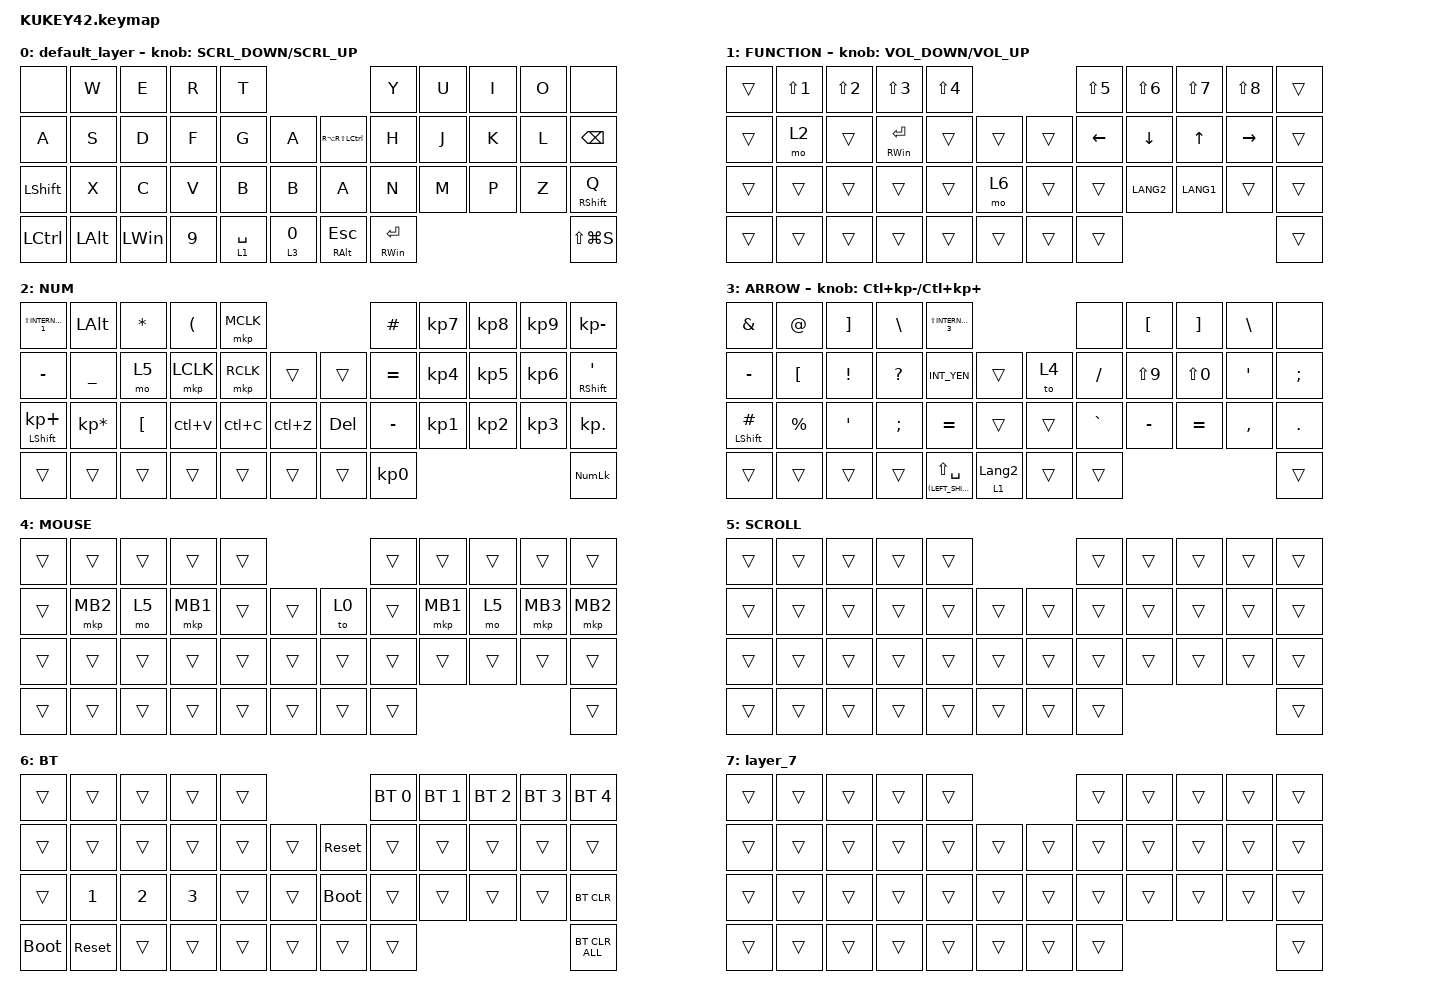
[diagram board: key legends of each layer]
#define ZMK_POINTING_DEFAULT_SCRL_VAL 80

#include <behaviors.dtsi>
#include <dt-bindings/zmk/bt.h>
#include <dt-bindings/zmk/keys.h>
#include <dt-bindings/zmk/pointing.h>

#define MOUSE 4
#define SCROLL 5
#define NUM 6

&mt {
    flavor = "tap-preferred";
    tapping-term-ms = <130>;
    quick-tap-ms = <0>;
};

&lt {
    tapping-term-ms = <130>;
};

/ {
    combos { compatible = "zmk,combos"; };

    macros {
        to_layer_0: to_layer_0 {
            compatible = "zmk,behavior-macro-one-param";
            #binding-cells = <1>;
            bindings = <&to 0 &macro_param_1to1 &kp MACRO_PLACEHOLDER>;
            label = "TO_LAYER_0";
        };
    };

    behaviors {
        lt_to_layer_0: lt_to_layer_0 {
            compatible = "zmk,behavior-hold-tap";
            label = "LAYER_TAP_TO_0";
            bindings = <&mo>, <&to_layer_0>;

            #binding-cells = <2>;
            tapping-term-ms = <200>;
        };

        tapdance_kana: tapdance_kana {
            compatible = "zmk,behavior-tap-dance";
            label = "TAPDANCE_KANA";
            #binding-cells = <0>;
            bindings = <&kp INT2>, <&kp LANGUAGE_2>, <&sl 1>;

            tapping-term-ms = <400>;
        };

        WheelScroll: WheelScroll {
            compatible = "zmk,behavior-sensor-rotate-var";
            label = "WHEELSCROLL";
            #sensor-binding-cells = <2>;
            bindings = <&msc>, <&msc>;

            tap-ms = <20>;
        };
    };

    keymap {
        compatible = "zmk,keymap";

        default_layer {
            bindings = <
&none           &kp W         &kp E         &kp R  &kp T                                             &kp Y                &kp U  &kp I  &kp O  &none
&kp A           &kp S         &kp D         &kp F  &kp G        &kp A          &kp RA(RS(LCTRL))     &kp H                &kp J  &kp K  &kp L  &kp BACKSPACE
&kp LEFT_SHIFT  &kp X         &kp C         &kp V  &kp B        &kp B          &kp A                 &kp N                &kp M  &kp P  &kp Z  &mt RIGHT_SHIFT Q
&kp LCTRL       &kp LEFT_ALT  &kp LEFT_WIN  &kp N9  &lt 1 SPACE  &lt 3 N0      &mt RIGHT_ALT ESCAPE  &mt RIGHT_WIN ENTER                       &kp LS(LG(S))
            >;

            sensor-bindings = <&WheelScroll SCRL_DOWN SCRL_UP>;
        };

        FUNCTION {
            bindings = <
&trans  &kp LS(N1)  &kp LS(N2)  &kp LS(NUMBER_3)  &kp LS(N4)                      &kp LS(N5)      &kp LS(NUMBER_6)  &kp LS(N7)    &kp LS(N8)  &trans
&trans  &mo 2       &trans      &mt RWIN ENTER    &trans      &trans      &trans  &kp LEFT_ARROW  &kp DOWN_ARROW    &kp UP_ARROW  &kp RIGHT   &trans
&trans  &trans      &trans      &trans            &trans      &mo 6       &trans  &trans          &kp LANG2         &kp LANG1     &trans      &trans
&trans  &trans      &trans      &trans            &trans      &trans      &trans  &trans                                                      &trans
            >;

            sensor-bindings = <&inc_dec_kp C_VOLUME_DOWN C_VOLUME_UP>;
        };

        NUM {
            bindings = <
&kp LS(INTERNATIONAL_1)  &kp LEFT_ALT     &kp ASTERISK      &kp LEFT_PARENTHESIS  &mkp MCLK                             &kp HASH         &kp KP_NUMBER_7  &kp KP_NUMBER_8  &kp KP_NUMBER_9  &kp KP_MINUS
&kp MINUS                &kp UNDERSCORE   &mo 5             &mkp LCLK             &mkp RCLK  &trans         &trans      &kp EQUAL        &kp KP_NUMBER_4  &kp KP_NUMBER_5  &kp KP_NUMBER_6  &mt RIGHT_SHIFT SINGLE_QUOTE
&mt LEFT_SHIFT KP_PLUS   &kp KP_ASTERISK  &kp LEFT_BRACKET  &kp LC(V)             &kp LC(C)  &kp LC(Z)      &kp DELETE  &kp MINUS        &kp KP_NUMBER_1  &kp KP_NUMBER_2  &kp KP_NUMBER_3  &kp KP_DOT
&trans                   &trans           &trans            &trans                &trans     &trans         &trans      &kp KP_NUMBER_0                                                     &kp KP_NUMLOCK
            >;
        };

        ARROW {
            bindings = <
&kp AMPERSAND  &kp AT_SIGN  &kp RIGHT_BRACKET  &kp BACKSLASH  &kp LS(INTERNATIONAL_3)  &none  &kp LBKT  &kp RBKT  &kp BSLH  &none
&kp MINUS  &kp LEFT_BRACKET  &kp EXCLAMATION  &kp QUESTION  &kp INT_YEN  &trans  &to 4  &kp FSLH  &kp LS(N9)  &kp LS(N0)  &kp SQT  &kp SEMI
&mt LEFT_SHIFT HASH  &kp PERCENT  &kp SINGLE_QUOTE  &kp SEMICOLON  &kp EQUAL  &trans  &trans  &kp GRAVE  &kp MINUS  &kp EQUAL  &kp COMMA  &kp DOT
&trans  &trans  &trans  &trans  &mt (LEFT_SHIFT) LS(SPACE)  &lt 1 LANGUAGE_2  &trans  &trans  &trans
            >;

            sensor-bindings = <&inc_dec_kp LC(KP_MINUS) LC(KP_PLUS)>;
        };

        MOUSE {
            bindings = <
&trans  &trans  &trans         &trans         &trans                      &trans  &trans    &trans  &trans    &trans
&trans  &mkp MB2  &mo 5          &mkp MB1       &trans  &trans      &to 0   &trans  &mkp MB1  &mo 5   &mkp MB3  &mkp MB2
&trans  &trans  &trans         &trans         &trans  &trans      &trans  &trans  &trans    &trans  &trans    &trans
&trans  &trans  &trans         &trans         &trans  &trans      &trans  &trans                              &trans
            >;
        };

        SCROLL {
            bindings = <
&trans  &trans  &trans  &trans  &trans                      &trans  &trans  &trans  &trans  &trans
&trans  &trans  &trans  &trans  &trans  &trans      &trans  &trans  &trans  &trans  &trans  &trans
&trans  &trans  &trans  &trans  &trans  &trans      &trans  &trans  &trans  &trans  &trans  &trans
&trans  &trans  &trans  &trans  &trans  &trans      &trans  &trans                          &trans
            >;
        };

        BT {
            bindings = <
&trans       &trans        &trans        &trans        &trans                           &bt BT_SEL 0  &bt BT_SEL 1  &bt BT_SEL 2  &bt BT_SEL 3  &bt BT_SEL 4
&trans       &trans        &trans        &trans        &trans  &trans      &sys_reset   &trans        &trans        &trans        &trans        &trans
&trans       &kp NUMBER_1  &kp NUMBER_2  &kp NUMBER_3  &trans  &trans      &bootloader  &trans        &trans        &trans        &trans        &bt BT_CLR
&bootloader  &sys_reset    &trans        &trans        &trans  &trans      &trans       &trans                                                  &bt BT_CLR_ALL
            >;
        };

        layer_7 {
            bindings = <
&trans  &trans  &trans  &trans  &trans                      &trans  &trans  &trans  &trans  &trans
&trans  &trans  &trans  &trans  &trans  &trans      &trans  &trans  &trans  &trans  &trans  &trans
&trans  &trans  &trans  &trans  &trans  &trans      &trans  &trans  &trans  &trans  &trans  &trans
&trans  &trans  &trans  &trans  &trans  &trans      &trans  &trans                          &trans
            >;
        };
    };
};
